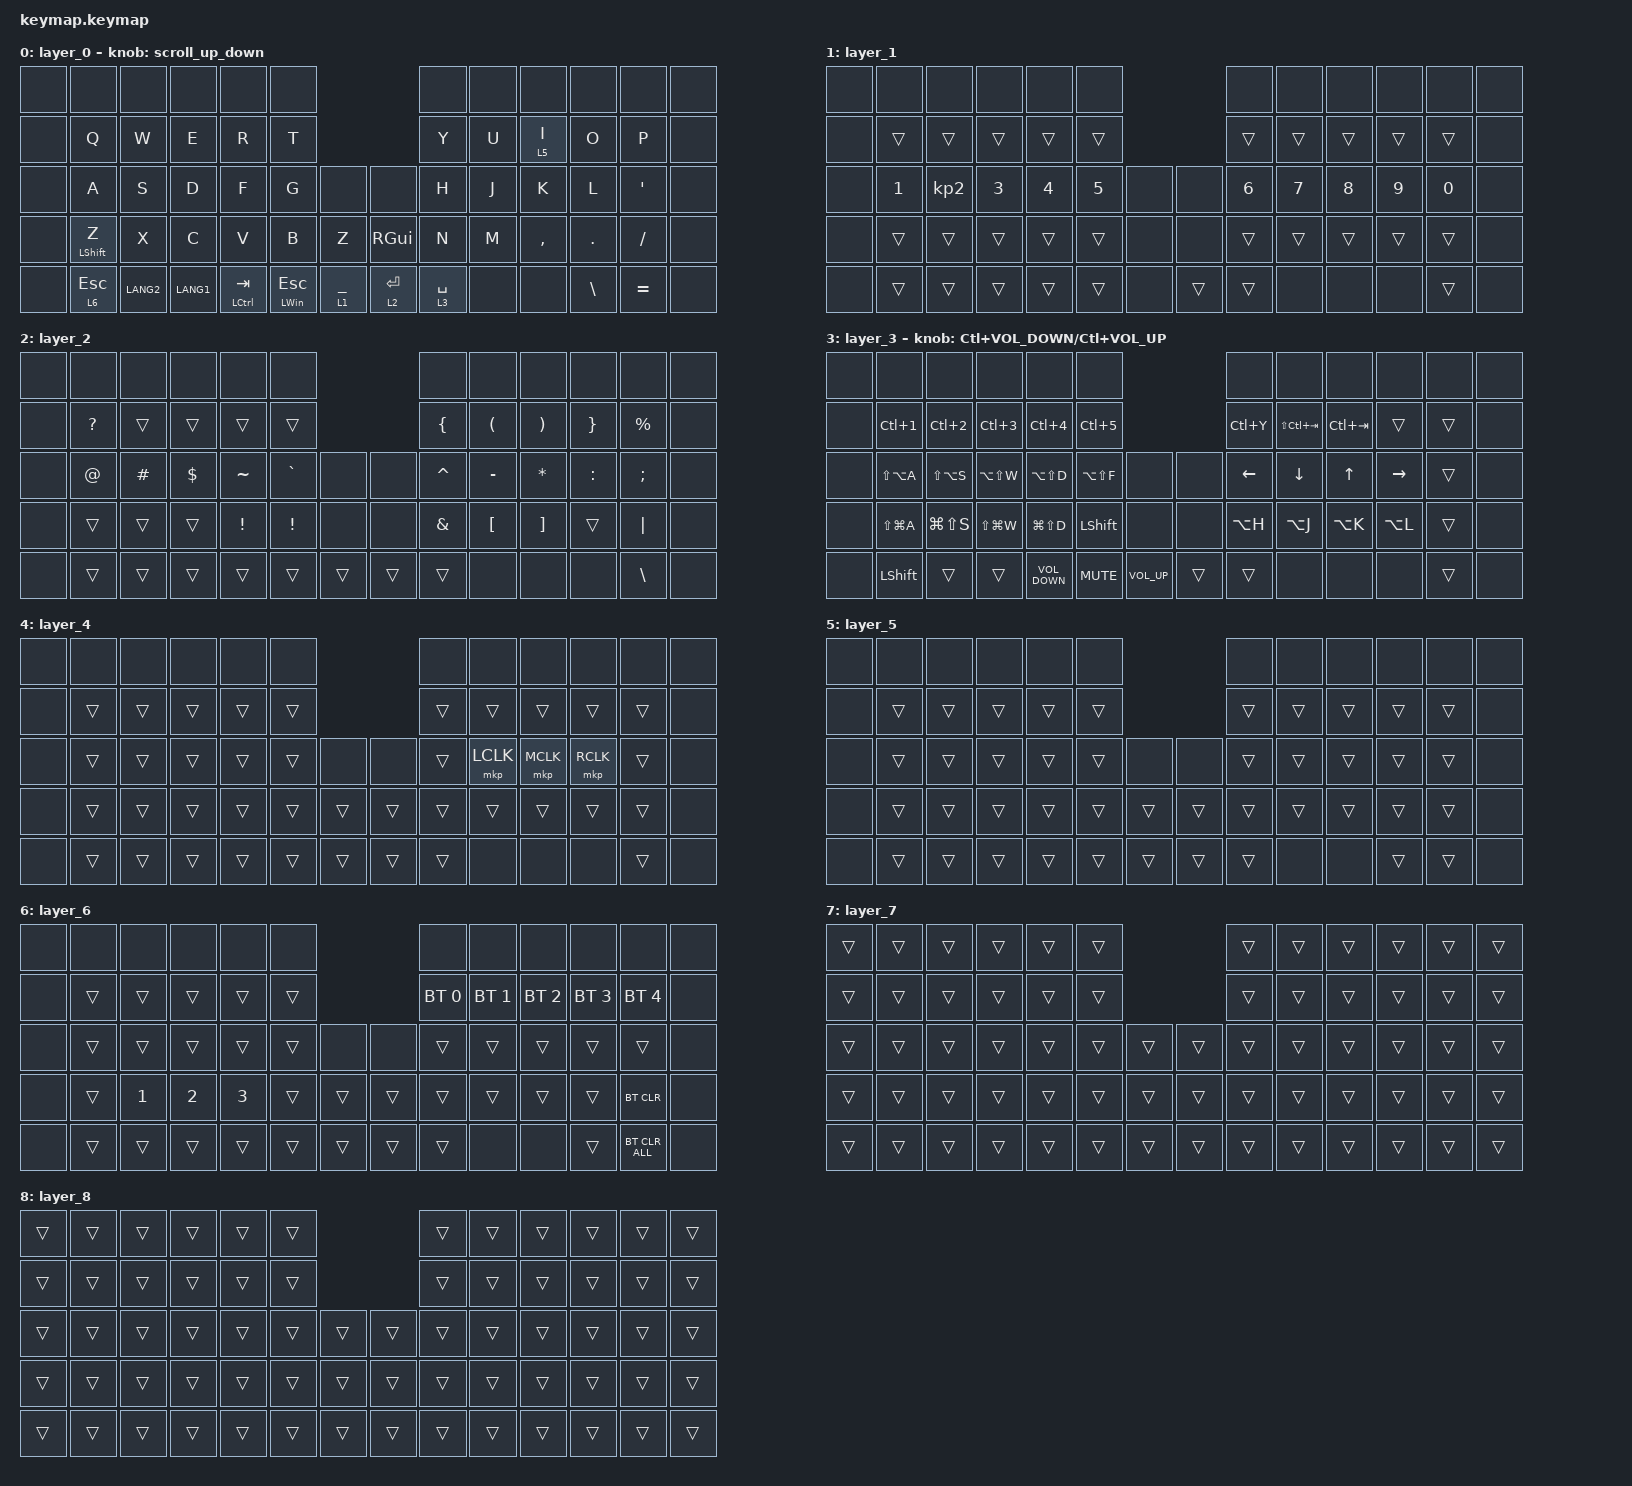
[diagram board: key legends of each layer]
#include <behaviors.dtsi>
#include <dt-bindings/zmk/bt.h>
#include <dt-bindings/zmk/keys.h>
#include <dt-bindings/zmk/pointing.h>

&mt {
    tapping-term-ms = <75>;
};

/ {
    combos {
        compatible = "zmk,combos";

        minus {
            bindings = <&kp MINUS>;
            timeout-ms = <50>;
            key-positions = <33 34>;
        };

        doblequote {
            timeout-ms = <50>;
            bindings = <&kp DOUBLE_QUOTES>;
            key-positions = <34 35>;
        };
    };

    macros {
        to_layer_0: to_layer_0 {
            compatible = "zmk,behavior-macro-one-param";
            #binding-cells = <1>;
            bindings = <&to 0 &macro_param_1to1 &kp MACRO_PLACEHOLDER>;
            label = "TO_LAYER_0";
        };

        kakko1: kakko1 {
            compatible = "zmk,behavior-macro";
            #binding-cells = <0>;
            bindings =
                <&macro_tap>,
                <&kp LEFT_PARENTHESIS &kp RIGHT_PARENTHESIS>;

            label = "KAKKO1";
        };

        kakko2: kakko2 {
            compatible = "zmk,behavior-macro";
            #binding-cells = <0>;
            bindings = <&macro_tap>, <&kp LEFT_BRACE &kp RIGHT_BRACE>;

            label = "KAKKO2";
        };

        kakko3: kakko3 {
            compatible = "zmk,behavior-macro";
            #binding-cells = <0>;
            bindings = <&macro_tap>, <&kp LEFT_BRACKET &kp RIGHT_BRACKET>;

            label = "KAKKO3";
        };
    };

    behaviors {
        lt_to_layer_0: lt_to_layer_0 {
            compatible = "zmk,behavior-hold-tap";
            label = "LAYER_TAP_TO_0";
            bindings = <&mo>, <&to_layer_0>;

            #binding-cells = <2>;
            tapping-term-ms = <200>;
        };

        scroll_up_down: scroll_up_down {
            compatible = "zmk,behavior-sensor-rotate";
            #sensor-binding-cells = <0>;
            bindings = <&msc SCRL_DOWN>, <&msc SCRL_UP>;

            tap-ms = <20>;
        };
    };

    keymap {
        compatible = "zmk,keymap";

        layer_0 {
            bindings = <
&none  &none             &none      &none      &none          &none                                         &none        &none  &none      &none          &none      &none
&none  &kp Q             &kp W      &kp E      &kp R          &kp T                                         &kp Y        &kp U  &lt 5 I    &kp O          &kp P      &none
&none  &kp A             &kp S      &kp D      &kp F          &kp G             &none        &none          &kp H        &kp J  &kp K      &kp L          &kp SQT    &none
&none  &mt LEFT_SHIFT Z  &kp X      &kp C      &kp V          &kp B             &kp Z        &kp RIGHT_GUI  &kp N        &kp M  &kp COMMA  &kp DOT        &kp SLASH  &none
&none  &lt 6 ESC         &kp LANG2  &kp LANG1  &mt LCTRL TAB  &mt LEFT_WIN ESC  &lt 1 UNDER  &lt 2 ENTER    &lt 3 SPACE  &none  &none      &kp BACKSLASH  &kp EQUAL  &none
            >;

            sensor-bindings = <&scroll_up_down>;
        };

        layer_1 {
            bindings = <
&none  &none         &none            &none         &none         &none                        &none         &none         &none         &none         &none         &none
&none  &trans        &trans           &trans        &trans        &trans                       &trans        &trans        &trans        &trans        &trans        &none
&none  &kp NUMBER_1  &kp KP_NUMBER_2  &kp NUMBER_3  &kp NUMBER_4  &kp NUMBER_5  &none  &none   &kp NUMBER_6  &kp NUMBER_7  &kp NUMBER_8  &kp NUMBER_9  &kp NUMBER_0  &none
&none  &trans        &trans           &trans        &trans        &trans        &none  &none   &trans        &trans        &trans        &trans        &trans        &none
&none  &trans        &trans           &trans        &trans        &trans        &none  &trans  &trans        &none         &none         &none         &trans        &none
            >;
        };

        layer_2 {
            bindings = <
&none  &none         &none     &none       &none            &none                            &none           &none                 &none                  &none            &none          &none
&none  &kp QUESTION  &trans    &trans      &trans           &trans                           &kp LEFT_BRACE  &kp LEFT_PARENTHESIS  &kp RIGHT_PARENTHESIS  &kp RIGHT_BRACE  &kp PERCENT    &none
&none  &kp AT        &kp HASH  &kp DOLLAR  &kp TILDE        &kp GRAVE        &none   &none   &kp CARET       &kp MINUS             &kp ASTERISK           &kp COLON        &kp SEMI       &none
&none  &trans        &trans    &trans      &kp EXCLAMATION  &kp EXCLAMATION  &none   &none   &kp AMPERSAND   &kp LEFT_BRACKET      &kp RIGHT_BRACKET      &trans           &kp PIPE       &none
&none  &trans        &trans    &trans      &trans           &trans           &trans  &trans  &trans          &none                 &none                  &none            &kp BACKSLASH  &none
            >;
        };

        layer_3 {
            bindings = <
&none  &none             &none             &none             &none              &none                                   &none           &none            &none         &none            &none   &none
&none  &kp LC(NUMBER_1)  &kp LC(NUMBER_2)  &kp LC(NUMBER_3)  &kp LC(NUMBER_4)   &kp LC(NUMBER_5)                        &kp LC(Y)       &kp LS(LC(TAB))  &kp LC(TAB)   &trans           &trans  &none
&none  &kp LS(LA(A))     &kp LS(LA(S))     &kp LA(LS(W))     &kp LA(LS(D))      &kp LA(LS(F))     &none         &none   &kp LEFT_ARROW  &kp DOWN         &kp UP_ARROW  &kp RIGHT_ARROW  &trans  &none
&none  &kp LS(LG(A))     &kp LG(LS(S))     &kp LS(LG(W))     &kp LG(LS(D))      &kp LEFT_SHIFT    &none         &none   &kp LA(H)       &kp LA(J)        &kp LA(K)     &kp LA(L)        &trans  &none
&none  &kp LSHIFT        &trans            &trans            &kp C_VOLUME_DOWN  &kp K_MUTE        &kp C_VOL_UP  &trans  &trans          &none            &none         &none            &trans  &none
            >;

            sensor-bindings = <&inc_dec_kp LC(C_VOLUME_DOWN) LC(C_VOLUME_UP)>;
        };

        layer_4 {
            bindings = <
&none  &none   &none   &none   &none   &none                   &none   &none      &none      &none      &none   &none
&none  &trans  &trans  &trans  &trans  &trans                  &trans  &trans     &trans     &trans     &trans  &none
&none  &trans  &trans  &trans  &trans  &trans  &none   &none   &trans  &mkp LCLK  &mkp MCLK  &mkp RCLK  &trans  &none
&none  &trans  &trans  &trans  &trans  &trans  &trans  &trans  &trans  &trans     &trans     &trans     &trans  &none
&none  &trans  &trans  &trans  &trans  &trans  &trans  &trans  &trans  &none      &none      &none      &trans  &none
            >;
        };

        layer_5 {
            bindings = <
&none  &none   &none   &none   &none   &none                   &none   &none   &none   &none   &none   &none
&none  &trans  &trans  &trans  &trans  &trans                  &trans  &trans  &trans  &trans  &trans  &none
&none  &trans  &trans  &trans  &trans  &trans  &none   &none   &trans  &trans  &trans  &trans  &trans  &none
&none  &trans  &trans  &trans  &trans  &trans  &trans  &trans  &trans  &trans  &trans  &trans  &trans  &none
&none  &trans  &trans  &trans  &trans  &trans  &trans  &trans  &trans  &none   &none   &trans  &trans  &none
            >;
        };

        layer_6 {
            bindings = <
&none  &none   &none         &none         &none         &none                   &none         &none         &none         &none         &none           &none
&none  &trans  &trans        &trans        &trans        &trans                  &bt BT_SEL 0  &bt BT_SEL 1  &bt BT_SEL 2  &bt BT_SEL 3  &bt BT_SEL 4    &none
&none  &trans  &trans        &trans        &trans        &trans  &none   &none   &trans        &trans        &trans        &trans        &trans          &none
&none  &trans  &kp NUMBER_1  &kp NUMBER_2  &kp NUMBER_3  &trans  &trans  &trans  &trans        &trans        &trans        &trans        &bt BT_CLR      &none
&none  &trans  &trans        &trans        &trans        &trans  &trans  &trans  &trans        &none         &none         &trans        &bt BT_CLR_ALL  &none
            >;
        };

        layer_7 {
            bindings = <
&trans  &trans  &trans  &trans  &trans  &trans                  &trans  &trans  &trans  &trans  &trans  &trans
&trans  &trans  &trans  &trans  &trans  &trans                  &trans  &trans  &trans  &trans  &trans  &trans
&trans  &trans  &trans  &trans  &trans  &trans  &trans  &trans  &trans  &trans  &trans  &trans  &trans  &trans
&trans  &trans  &trans  &trans  &trans  &trans  &trans  &trans  &trans  &trans  &trans  &trans  &trans  &trans
&trans  &trans  &trans  &trans  &trans  &trans  &trans  &trans  &trans  &trans  &trans  &trans  &trans  &trans
            >;
        };

        layer_8 {
            bindings = <
&trans  &trans  &trans  &trans  &trans  &trans                  &trans  &trans  &trans  &trans  &trans  &trans
&trans  &trans  &trans  &trans  &trans  &trans                  &trans  &trans  &trans  &trans  &trans  &trans
&trans  &trans  &trans  &trans  &trans  &trans  &trans  &trans  &trans  &trans  &trans  &trans  &trans  &trans
&trans  &trans  &trans  &trans  &trans  &trans  &trans  &trans  &trans  &trans  &trans  &trans  &trans  &trans
&trans  &trans  &trans  &trans  &trans  &trans  &trans  &trans  &trans  &trans  &trans  &trans  &trans  &trans
            >;
        };
    };
};
